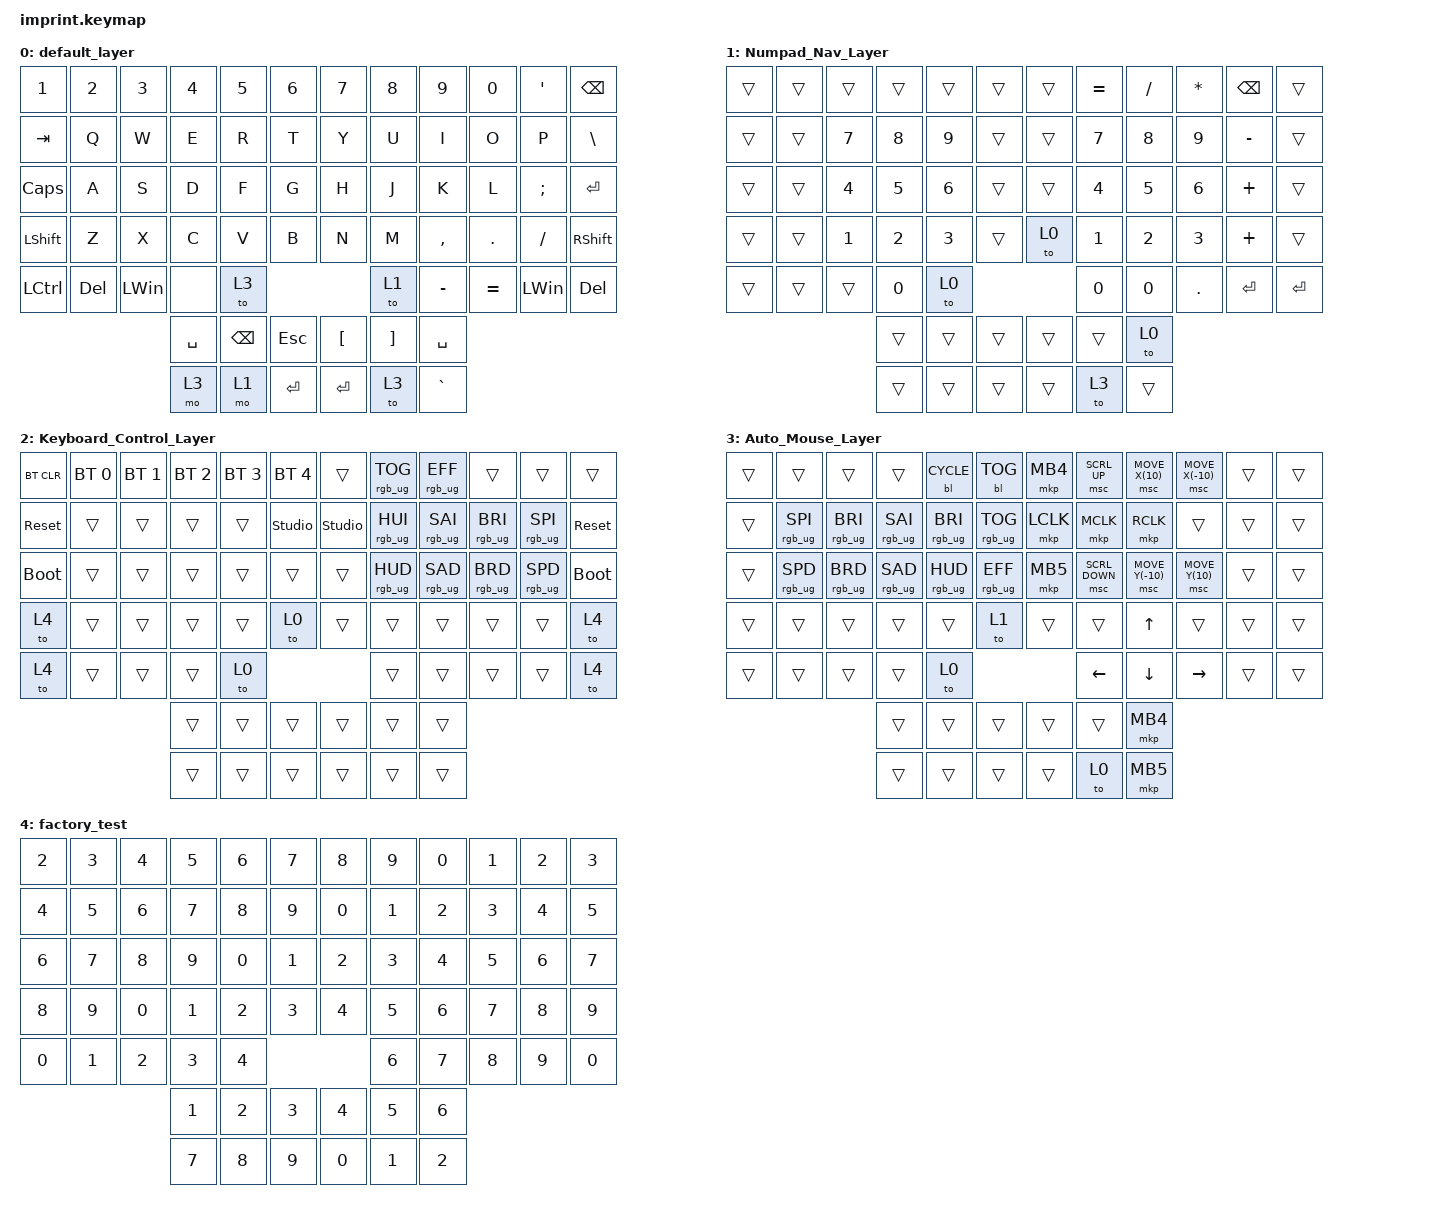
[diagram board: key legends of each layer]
#include <input/processors.dtsi>
#include <dt-bindings/zmk/input_transform.h>
#include <behaviors.dtsi>
#include <dt-bindings/zmk/backlight.h>
#include <dt-bindings/zmk/bt.h>
#include <dt-bindings/zmk/keys.h>
#include <dt-bindings/zmk/pointing.h>
#include <dt-bindings/zmk/rgb.h>

/ {
    chosen { zmk,matrix-transform = &imprint_number_row_full_bottom_row; };

    keymap {
        compatible = "zmk,keymap";

        default_layer {
            bindings = <
&kp NUMBER_1  &kp N2      &kp N3        &kp N4     &kp N5         &kp N6       &kp N7            &kp N8             &kp N9     &kp N0     &kp SQT       &kp BACKSPACE
&kp TAB       &kp Q       &kp W         &kp E      &kp R          &kp T        &kp Y             &kp U              &kp I      &kp O      &kp P         &kp BSLH
&kp CLCK      &kp A       &kp S         &kp D      &kp F          &kp G        &kp H             &kp J              &kp K      &kp L      &kp SEMI      &kp RET
&kp LSHFT     &kp Z       &kp X         &kp C      &kp V          &kp B        &kp N             &kp M              &kp COMMA  &kp DOT    &kp SLASH     &kp RSHIFT
&kp LCTRL     &kp DELETE  &kp LEFT_WIN  &none      &to 3                                         &to 1              &kp MINUS  &kp EQUAL  &kp LEFT_WIN  &kp DELETE
                                        &kp SPACE  &kp BACKSPACE  &kp ESC      &kp LEFT_BRACKET  &kp RIGHT_BRACKET  &kp SPACE
                                        &mo 3      &mo 1          &kp ENTER    &kp ENTER         &to 3              &kp GRAVE
            >;
        };

        Numpad_Nav_Layer {
            bindings = <
&trans  &trans  &trans  &trans  &trans  &trans    &trans  &kp EQUAL  &kp FSLH  &kp STAR  &kp BSPC   &trans
&trans  &trans  &kp N7  &kp N8  &kp N9  &trans    &trans  &kp N7     &kp N8    &kp N9    &kp MINUS  &trans
&trans  &trans  &kp N4  &kp N5  &kp N6  &trans    &trans  &kp N4     &kp N5    &kp N6    &kp PLUS   &trans
&trans  &trans  &kp N1  &kp N2  &kp N3  &trans    &to 0   &kp N1     &kp N2    &kp N3    &kp PLUS   &trans
&trans  &trans  &trans  &kp N0  &to 0                     &kp N0     &kp N0    &kp DOT   &kp RET    &kp RET
                        &trans  &trans  &trans    &trans  &trans     &to 0
                        &trans  &trans  &trans    &trans  &to 3      &trans
            >;
        };

        Keyboard_Control_Layer {
            bindings = <
&bt BT_CLR   &bt BT_SEL 0  &bt BT_SEL 1  &bt BT_SEL 2  &bt BT_SEL 3  &bt BT_SEL 4      &trans          &rgb_ug RGB_TOG  &rgb_ug RGB_EFF  &trans           &trans           &trans
&sys_reset   &trans        &trans        &trans        &trans        &studio_unlock    &studio_unlock  &rgb_ug RGB_HUI  &rgb_ug RGB_SAI  &rgb_ug RGB_BRI  &rgb_ug RGB_SPI  &sys_reset
&bootloader  &trans        &trans        &trans        &trans        &trans            &trans          &rgb_ug RGB_HUD  &rgb_ug RGB_SAD  &rgb_ug RGB_BRD  &rgb_ug RGB_SPD  &bootloader
&to 4        &trans        &trans        &trans        &trans        &to 0             &trans          &trans           &trans           &trans           &trans           &to 4
&to 4        &trans        &trans        &trans        &to 0                                           &trans           &trans           &trans           &trans           &to 4
                                         &trans        &trans        &trans            &trans          &trans           &trans
                                         &trans        &trans        &trans            &trans          &trans           &trans
            >;
        };

        Auto_Mouse_Layer {
            bindings = <
&trans  &trans           &trans           &trans           &bl BL_CYCLE     &bl BL_TOG         &mkp MB4   &msc SCRL_UP    &msc MOVE_X(10)   &msc MOVE_X(-10)  &trans  &trans
&trans  &rgb_ug RGB_SPI  &rgb_ug RGB_BRI  &rgb_ug RGB_SAI  &rgb_ug RGB_BRI  &rgb_ug RGB_TOG    &mkp LCLK  &mkp MCLK       &mkp RCLK         &trans            &trans  &trans
&trans  &rgb_ug RGB_SPD  &rgb_ug RGB_BRD  &rgb_ug RGB_SAD  &rgb_ug RGB_HUD  &rgb_ug RGB_EFF    &mkp MB5   &msc SCRL_DOWN  &msc MOVE_Y(-10)  &msc MOVE_Y(10)   &trans  &trans
&trans  &trans           &trans           &trans           &trans           &to 1              &trans     &trans          &kp UP            &trans            &trans  &trans
&trans  &trans           &trans           &trans           &to 0                                          &kp LEFT        &kp DOWN          &kp RIGHT         &trans  &trans
                                          &trans           &trans           &trans             &trans     &trans          &mkp MB4
                                          &trans           &trans           &trans             &trans     &to 0           &mkp MB5
            >;
        };

        factory_test {
            bindings = <
&kp N2  &kp N3  &kp N4  &kp N5  &kp N6  &kp N7    &kp N8  &kp N9  &kp N0  &kp N1  &kp N2  &kp N3
&kp N4  &kp N5  &kp N6  &kp N7  &kp N8  &kp N9    &kp N0  &kp N1  &kp N2  &kp N3  &kp N4  &kp N5
&kp N6  &kp N7  &kp N8  &kp N9  &kp N0  &kp N1    &kp N2  &kp N3  &kp N4  &kp N5  &kp N6  &kp N7
&kp N8  &kp N9  &kp N0  &kp N1  &kp N2  &kp N3    &kp N4  &kp N5  &kp N6  &kp N7  &kp N8  &kp N9
&kp N0  &kp N1  &kp N2  &kp N3  &kp N4                    &kp N6  &kp N7  &kp N8  &kp N9  &kp N0
                        &kp N1  &kp N2  &kp N3    &kp N4  &kp N5  &kp N6
                        &kp N7  &kp N8  &kp N9    &kp N0  &kp N1  &kp N2
            >;
        };
    };
};

// right hand trackball configuration
// &trackball_peripheral_listener {
//    input-processors =
//     activate layer 3 within 500ms of the trackball moving
//     <&zip_temp_layer 3 500>;
// };
//left hand trackball configuration

&trackball_central_listener {
    input-processors =
        // multiply sensitivity by 1, divide by 3 (make it slower for scrolling),,,,,,,,,,
        <&zip_xy_scaler 1 3>,
        // make this trackball output scrolling events by default instead of cursor movement,,,,,,,,,,
        <&zip_xy_to_scroll_mapper>,
        // invert vertical scrolling so that the view moves in the same direction as the top of the trackball.,,,,,,,,,,
        <&zip_scroll_transform INPUT_TRANSFORM_Y_INVERT>;
};
